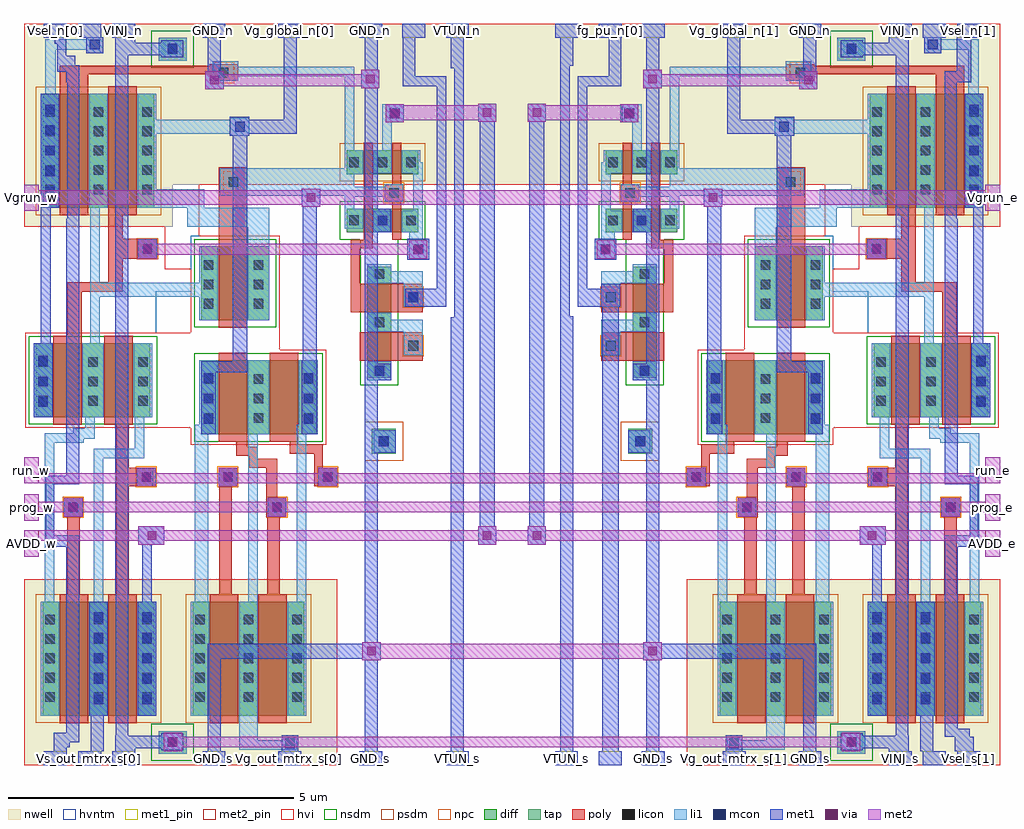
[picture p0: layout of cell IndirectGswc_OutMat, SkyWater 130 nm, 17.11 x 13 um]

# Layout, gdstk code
import gdstk
lib = gdstk.Library(unit=1e-6, precision=1e-09)
def R(c, l, rs):  # rectangles x0, y0, x1, y1
    for r in rs: c.add(gdstk.rectangle(r[:2], r[2:], *l))
def A(c, l, x, y, w, h, nx, ny, dx, dy):  # array of equal rectangles
    R(c, l, [(x+i*dx, y+j*dy, x+i*dx+w, y+j*dy+h) for i in range(nx) for j in range(ny)])
nwell = (64, 20)
diff = (65, 20)
tap = (65, 44)
poly = (66, 20)
licon = (66, 44)
li1 = (67, 20)
mcon = (67, 44)
met1_pin = (68, 16)
met1 = (68, 20)
via = (68, 44)
met2_pin = (69, 16)
met2 = (69, 20)
hvi = (75, 20)
nsdm = (93, 44)
psdm = (94, 20)
npc = (95, 20)
hvntm = (125, 20)

indirectgswc_outmat = lib.new_cell('IndirectGswc_OutMat')
R(indirectgswc_outmat, nwell, [(2.89,-0.44,8.38,2.82), (14.51,-0.44,20,2.82), (2.89,9,5.5,9.74), (17.39,9,20,9.74), (2.89,9.74,20,12.56)])
R(indirectgswc_outmat, diff, [(3.22,0.43,5.17,2.43), (5.85,0.43,7.8,2.43), (15.09,0.43,17.04,2.43), (17.72,0.43,19.67,2.43), (6,5.36,8,6.66), (14.89,5.36,16.89,6.66), (3.1,5.66,5.1,6.96), (17.79,5.66,19.79,6.96), (8.91,6.35,9.33,8.3), (13.56,6.35,13.98,8.3), (6,7.36,7.19,8.66), (15.7,7.36,16.89,8.66), (8.55,8.9,9.8,9.32), (13.09,8.9,14.34,9.32), (3.22,9.33,5.17,11.33), (17.72,9.33,19.67,11.33), (8.55,9.92,9.8,10.34), (13.09,9.92,14.34,10.34)])
R(indirectgswc_outmat, tap, [(5.25,-0.24,5.74,0.16), (17.15,-0.24,17.64,0.16), (8.99,5.02,9.41,5.46), (13.48,5.02,13.9,5.46), (5.25,11.91,5.74,12.31), (17.15,11.91,17.64,12.31)])
R(indirectgswc_outmat, poly, [(3.52,0.3,4.02,2.56), (4.37,0.3,4.87,2.56), (6.15,0.3,6.65,2.56), (7,0.3,7.5,2.56), (15.39,0.3,15.89,2.56), (16.24,0.3,16.74,2.56), (18.02,0.3,18.52,2.56), (18.87,0.3,19.37,2.56), (3.65,2.56,3.87,3.92), (4.51,2.56,4.73,4.45), (6.31,2.56,6.53,4.45), (7.15,2.56,7.37,3.91), (15.52,2.56,15.74,3.91), (16.36,2.56,16.58,4.45), (18.16,2.56,18.38,4.45), (19.02,2.56,19.24,3.92), (7.14,3.91,7.37,3.92), (15.52,3.91,15.75,3.92), (3.59,3.92,3.92,4.25), (7.14,3.92,7.49,4.25), (15.4,3.92,15.75,4.25), (18.97,3.92,19.3,4.25), (7.14,4.25,7.33,4.78), (15.56,4.25,15.75,4.78), (4.51,4.45,5.2,4.78), (6.3,4.45,6.63,4.78), (7.98,4.45,8.38,4.78), (14.51,4.45,14.91,4.78), (16.26,4.45,16.59,4.78), (17.69,4.45,18.38,4.78), (4.51,4.78,4.73,5.53), (6.84,4.78,7.33,4.93), (7.98,4.78,8.13,5.02), (14.76,4.78,14.91,5.02), (15.56,4.78,16.05,4.93), (18.16,4.78,18.38,5.53), (6.84,4.93,6.99,4.99), (15.9,4.93,16.05,4.99), (6.61,4.99,6.99,5.14), (15.9,4.99,16.28,5.14), (7.55,5.02,8.13,5.19), (14.76,5.02,15.34,5.19), (6.61,5.14,6.8,5.23), (16.09,5.14,16.28,5.23), (7.55,5.19,7.7,5.23), (15.19,5.19,15.34,5.23), (6.3,5.23,6.8,6.79), (7.2,5.23,7.7,6.79), (15.19,5.23,15.69,6.79), (16.09,5.23,16.59,6.79), (3.4,5.53,3.9,7.09), (4.3,5.53,4.8,7.09), (18.09,5.53,18.59,7.09), (18.99,5.53,19.49,7.09), (8.78,6.65,9.88,7.15), (13.01,6.65,14.11,7.15), (3.65,7.09,3.9,7.86), (18.99,7.09,19.24,7.86), (6.3,7.23,6.8,10.04), (16.09,7.23,16.59,10.04), (8.62,7.5,9.88,8), (13.01,7.5,14.27,8), (3.65,7.86,4.62,8.03), (18.27,7.86,19.24,8.03), (8.62,8,8.78,8.62), (14.11,8,14.27,8.62), (4.37,8.03,4.62,8.44), (18.27,8.03,18.52,8.44), (4.37,8.44,5.22,8.79), (17.67,8.44,18.52,8.79), (8.62,8.62,9,8.77), (13.89,8.62,14.27,8.77), (8.85,8.77,9,10.47), (9.35,8.77,9.5,9.45), (13.39,8.77,13.54,9.45), (13.89,8.77,14.04,10.47), (4.37,8.79,4.62,9.2), (18.27,8.79,18.52,9.2), (3.52,9.2,4.02,11.67), (4.37,9.2,4.87,11.46), (18.02,9.2,18.52,11.46), (18.87,9.2,19.37,11.67), (9.21,9.45,9.54,9.74), (13.35,9.45,13.68,9.74), (9.35,9.74,9.5,10.47), (13.39,9.74,13.54,10.47), (6.15,11.56,6.65,11.67), (16.24,11.56,16.74,11.67), (3.52,11.67,6.65,11.82), (16.24,11.67,19.37,11.82), (6.15,11.82,6.65,11.85), (16.24,11.82,16.74,11.85)])
A(indirectgswc_outmat, licon, 3.26, 0.67, 0.17, 0.17, 3, 5, 0.85, 0.34)
A(indirectgswc_outmat, licon, 5.89, 0.67, 0.17, 0.17, 3, 5, 0.85, 0.34)
A(indirectgswc_outmat, licon, 15.13, 0.67, 0.17, 0.17, 3, 5, 0.85, 0.34)
A(indirectgswc_outmat, licon, 17.76, 0.67, 0.17, 0.17, 3, 5, 0.85, 0.34)
A(indirectgswc_outmat, licon, 6.04, 5.565, 0.17, 0.17, 3, 3, 0.875, 0.34)
A(indirectgswc_outmat, licon, 14.93, 5.565, 0.17, 0.17, 3, 3, 0.875, 0.34)
A(indirectgswc_outmat, licon, 3.14, 5.865, 0.17, 0.17, 3, 3, 0.875, 0.34)
A(indirectgswc_outmat, licon, 17.83, 5.865, 0.17, 0.17, 3, 3, 0.875, 0.34)
A(indirectgswc_outmat, licon, 9.035, 6.39, 0.17, 0.17, 1, 3, 0, 0.85)
A(indirectgswc_outmat, licon, 13.685, 6.39, 0.17, 0.17, 1, 3, 0, 0.85)
A(indirectgswc_outmat, licon, 6.04, 7.565, 0.17, 0.17, 1, 3, 0, 0.34)
A(indirectgswc_outmat, licon, 6.915, 7.565, 0.17, 0.17, 1, 3, 0, 0.34)
A(indirectgswc_outmat, licon, 15.805, 7.565, 0.17, 0.17, 1, 3, 0, 0.34)
A(indirectgswc_outmat, licon, 16.68, 7.565, 0.17, 0.17, 1, 3, 0, 0.34)
A(indirectgswc_outmat, licon, 3.26, 9.57, 0.17, 0.17, 3, 5, 0.85, 0.34)
A(indirectgswc_outmat, licon, 17.76, 9.57, 0.17, 0.17, 3, 5, 0.85, 0.34)
A(indirectgswc_outmat, licon, 8.59, 10.045, 0.17, 0.17, 3, 1, 0.5, 0)
A(indirectgswc_outmat, licon, 13.13, 10.045, 0.17, 0.17, 3, 1, 0.5, 0)
R(indirectgswc_outmat, licon, [(5.41,-0.115,5.58,0.055), (17.31,-0.115,17.48,0.055), (3.67,4,3.84,4.17), (7.24,4,7.41,4.17), (15.48,4,15.65,4.17), (19.05,4,19.22,4.17), (4.95,4.53,5.12,4.7), (6.38,4.53,6.55,4.7), (8.13,4.53,8.3,4.7), (14.59,4.53,14.76,4.7), (16.34,4.53,16.51,4.7), (17.77,4.53,17.94,4.7), (9.11,5.155,9.28,5.325), (13.61,5.155,13.78,5.325), (9.63,6.83,9.8,7), (13.09,6.83,13.26,7), (9.63,7.68,9.8,7.85), (13.09,7.68,13.26,7.85), (4.97,8.53,5.14,8.7), (17.75,8.53,17.92,8.7), (9.09,9.025,9.26,9.195), (9.59,9.025,9.76,9.195), (13.13,9.025,13.3,9.195), (13.63,9.025,13.8,9.195), (8.59,9.03,8.76,9.2), (14.13,9.03,14.3,9.2), (9.29,9.51,9.46,9.68), (13.43,9.51,13.6,9.68), (6.48,9.7,6.65,9.87), (16.24,9.7,16.41,9.87), (6.305,11.615,6.475,11.785), (16.415,11.615,16.585,11.785), (5.41,12.035,5.58,12.205), (17.31,12.035,17.48,12.205)])
A(indirectgswc_outmat, li1, 3.18, 0.43, 0.33, 2, 3, 1, 0.85, 0)
A(indirectgswc_outmat, li1, 17.68, 0.43, 0.33, 2, 3, 1, 0.85, 0)
R(indirectgswc_outmat, li1, [(5.25,-0.24,5.74,0.16), (17.15,-0.24,17.64,0.16), (6.66,-0.17,7.67,0), (15.22,-0.17,16.23,0), (6.66,0,6.99,2.43), (7.44,0,7.67,0.06), (15.22,0,15.45,0.06), (15.9,0,16.23,2.43), (5.81,0.43,6.14,2.43), (7.51,0.43,7.84,2.43), (15.05,0.43,15.38,2.43), (16.75,0.43,17.08,2.43), (3.25,2.43,3.42,5.21), (4.11,2.43,4.28,4.94), (5.88,2.43,6.12,5.36), (6.82,2.43,6.99,5.36), (7.67,2.43,7.84,5.36), (15.05,2.43,15.22,5.36), (15.9,2.43,16.07,5.36), (16.77,2.43,17.01,5.36), (18.61,2.43,18.78,4.94), (19.47,2.43,19.64,5.21), (3.59,3.92,3.92,4.25), (7.16,3.92,7.49,4.25), (15.4,3.92,15.73,4.25), (18.97,3.92,19.3,4.25), (4.87,4.45,5.2,4.77), (6.3,4.45,6.63,4.78), (8.05,4.45,8.38,4.78), (14.51,4.45,14.84,4.78), (16.26,4.45,16.59,4.78), (17.69,4.45,18.02,4.77), (4.11,4.94,5,5.11), (17.89,4.94,18.78,5.11), (9.02,5.04,9.41,5.43), (13.48,5.04,13.87,5.43), (4.83,5.11,5,5.66), (17.89,5.11,18.06,5.66), (3.25,5.21,3.94,5.28), (18.95,5.21,19.64,5.28), (3.25,5.28,4.13,5.38), (18.76,5.28,19.64,5.38), (5.88,5.36,6.29,5.53), (6.81,5.36,7.19,6.66), (7.67,5.36,8.04,5.53), (14.85,5.36,15.22,5.53), (15.7,5.36,16.08,6.66), (16.6,5.36,17.01,5.53), (3.75,5.38,4.13,5.47), (18.76,5.38,19.14,5.47), (3.96,5.47,4.13,5.66), (18.76,5.47,18.93,5.66), (5.96,5.53,6.29,6.66), (7.71,5.53,8.04,6.66), (14.85,5.53,15.18,6.66), (16.6,5.53,16.93,6.66), (3.06,5.66,3.39,6.96), (3.91,5.66,4.29,6.96), (4.81,5.66,5.14,6.96), (17.75,5.66,18.08,6.96), (18.6,5.66,18.98,6.96), (19.5,5.66,19.83,6.96), (8.91,6.31,9.33,6.64), (13.56,6.31,13.98,6.64), (9.55,6.75,9.88,7.16), (13.01,6.75,13.34,7.16), (4.05,6.96,4.22,7.77), (18.67,6.96,18.84,7.77), (8.91,7.16,9.88,7.37), (13.01,7.16,13.98,7.37), (5.96,7.36,6.29,7.77), (6.81,7.36,7.19,9), (15.7,7.36,16.08,9), (16.6,7.36,16.93,7.77), (8.91,7.37,9.33,7.49), (13.56,7.37,13.98,7.49), (9.55,7.6,9.88,8.01), (13.01,7.6,13.34,8.01), (4.05,7.77,6.29,8.02), (16.6,7.77,18.84,8.02), (8.91,8.01,9.88,8.22), (13.01,8.01,13.98,8.22), (4.05,8.02,4.22,9.33), (5.96,8.02,6.29,8.66), (16.6,8.02,16.93,8.66), (18.67,8.02,18.84,9.33), (8.91,8.22,9.33,8.34), (13.56,8.22,13.98,8.34), (9.64,8.44,9.96,8.76), (12.93,8.44,13.25,8.76), (4.89,8.45,5.22,8.78), (17.67,8.45,18,8.78), (9.64,8.76,9.88,8.9), (13.01,8.76,13.25,8.9), (9.01,8.9,9.34,9.28), (9.51,8.9,9.88,9.28), (13.01,8.9,13.38,9.28), (13.55,8.9,13.88,9.28), (8.51,8.97,8.84,9.32), (14.05,8.97,14.38,9.32), (5.75,9,7.19,9.33), (15.7,9,17.14,9.33), (9.71,9.28,9.88,9.94), (13.01,9.28,13.18,9.94), (8.51,9.32,8.68,9.53), (14.21,9.32,14.38,9.53), (3.18,9.33,3.51,11.33), (4.03,9.33,4.36,11.33), (4.88,9.33,6.05,9.66), (16.84,9.33,18.01,9.66), (18.53,9.33,18.86,11.33), (19.38,9.33,19.71,11.33), (9.21,9.45,9.54,9.53), (13.35,9.45,13.68,9.53), (8.51,9.53,9.54,9.54), (13.35,9.53,14.38,9.54), (6.32,9.54,9.54,9.7), (13.35,9.54,16.57,9.7), (4.88,9.66,5.21,10.63), (17.68,9.66,18.01,10.63), (6.32,9.7,8.68,9.92), (9.21,9.7,9.54,9.75), (13.35,9.7,13.68,9.75), (14.21,9.7,16.57,9.92), (6.32,9.92,8.84,10.03), (14.05,9.92,16.57,10.03), (9.01,9.94,9.34,10.34), (9.51,9.94,9.88,10.13), (13.01,9.94,13.38,10.13), (13.55,9.94,13.88,10.34), (8.51,10.03,8.84,10.34), (14.05,10.03,14.38,10.34), (9.51,10.13,9.84,10.34), (13.05,10.13,13.38,10.34), (8.51,10.34,8.68,11.64), (9.17,10.34,9.34,10.83), (13.55,10.34,13.72,10.83), (14.21,10.34,14.38,11.64), (6.5,10.6,6.84,10.63), (16.05,10.6,16.39,10.63), (4.88,10.63,6.84,10.88), (16.05,10.63,18.01,10.88), (9.17,10.83,9.55,11.15), (13.34,10.83,13.72,11.15), (4.88,10.88,5.21,11.33), (6.5,10.88,6.84,10.91), (16.05,10.88,16.39,10.91), (17.68,10.88,18.01,11.33), (3.26,11.33,3.45,12.1), (19.44,11.33,19.63,12.1), (6.2,11.56,6.65,11.64), (16.24,11.56,16.69,11.64), (6.2,11.64,8.68,11.81), (14.21,11.64,16.69,11.81), (6.2,11.81,6.65,11.9), (16.24,11.81,16.69,11.9), (5.25,11.91,5.74,12.31), (17.15,11.91,17.64,12.31), (3.98,12.04,4.28,12.1), (18.67,12.04,18.97,12.1), (3.26,12.1,4.28,12.29), (18.67,12.1,19.63,12.29), (3.98,12.29,4.28,12.32), (18.67,12.29,18.97,12.32)])
A(indirectgswc_outmat, mcon, 4.11, 0.63, 0.17, 0.17, 1, 5, 0, 0.36)
A(indirectgswc_outmat, mcon, 4.96, 0.63, 0.17, 0.17, 1, 5, 0, 0.36)
A(indirectgswc_outmat, mcon, 17.76, 0.63, 0.17, 0.17, 1, 5, 0, 0.36)
A(indirectgswc_outmat, mcon, 18.61, 0.63, 0.17, 0.17, 1, 5, 0, 0.36)
A(indirectgswc_outmat, mcon, 6.04, 5.545, 0.17, 0.17, 1, 3, 0, 0.36)
A(indirectgswc_outmat, mcon, 7.79, 5.545, 0.17, 0.17, 1, 3, 0, 0.36)
A(indirectgswc_outmat, mcon, 14.93, 5.545, 0.17, 0.17, 1, 3, 0, 0.36)
A(indirectgswc_outmat, mcon, 16.68, 5.545, 0.17, 0.17, 1, 3, 0, 0.36)
A(indirectgswc_outmat, mcon, 3.14, 5.845, 0.17, 0.17, 1, 3, 0, 0.36)
A(indirectgswc_outmat, mcon, 19.58, 5.845, 0.17, 0.17, 1, 3, 0, 0.36)
A(indirectgswc_outmat, mcon, 3.26, 9.53, 0.17, 0.17, 1, 5, 0, 0.36)
A(indirectgswc_outmat, mcon, 19.46, 9.53, 0.17, 0.17, 1, 5, 0, 0.36)
R(indirectgswc_outmat, mcon, [(7.47,-0.14,7.64,0.03), (15.25,-0.14,15.42,0.03), (5.41,-0.115,5.58,0.055), (17.31,-0.115,17.48,0.055), (3.67,4,3.84,4.17), (7.24,4,7.41,4.17), (15.48,4,15.65,4.17), (19.05,4,19.22,4.17), (4.95,4.53,5.12,4.7), (6.38,4.53,6.55,4.7), (8.13,4.53,8.3,4.7), (14.59,4.53,14.76,4.7), (16.34,4.53,16.51,4.7), (17.77,4.53,17.94,4.7), (9.11,5.155,9.28,5.325), (13.61,5.155,13.78,5.325), (9.035,6.39,9.205,6.56), (13.685,6.39,13.855,6.56), (9.63,7.68,9.8,7.85), (9.715,8.52,9.885,8.69), (13,8.52,13.17,8.69), (4.97,8.53,5.14,8.7), (17.75,8.53,17.92,8.7), (9.09,9.025,9.26,9.195), (13.63,9.025,13.8,9.195), (6.59,10.67,6.76,10.84), (16.13,10.67,16.3,10.84), (9.305,10.905,9.475,11.075), (13.415,10.905,13.585,11.075), (5.41,12.035,5.58,12.205), (17.31,12.035,17.48,12.205), (4.045,12.11,4.215,12.28), (18.735,12.11,18.905,12.28)])
A(indirectgswc_outmat, met1_pin, 3.24, -0.44, 0.4, 0.25, 3, 2, 0.6, 12.75)
A(indirectgswc_outmat, met1_pin, 18.05, -0.44, 0.4, 0.25, 3, 2, 0.6, 12.75)
R(indirectgswc_outmat, met1_pin, [(6.02,-0.44,6.42,-0.19), (7.35,-0.44,7.75,-0.19), (8.77,-0.44,9.17,-0.19), (10.29,-0.44,10.69,-0.19), (12.2,-0.44,12.6,-0.19), (12.97,-0.44,13.37,-0.19), (13.72,-0.44,14.12,-0.19), (15.14,-0.44,15.54,-0.19), (16.47,-0.44,16.87,-0.19), (2.89,9.28,3.15,9.74), (19.74,9.28,20,9.74), (6.02,12.31,6.42,12.56), (7.35,12.31,7.75,12.56), (8.77,12.31,9.17,12.56), (9.52,12.31,9.92,12.56), (10.29,12.31,10.69,12.56), (12.2,12.31,12.6,12.56), (12.97,12.31,13.37,12.56), (13.72,12.31,14.12,12.56), (15.14,12.31,15.54,12.56), (16.47,12.31,16.87,12.56)])
A(indirectgswc_outmat, met1, 3.24, -0.44, 0.4, 0.25, 3, 1, 0.6, 0)
A(indirectgswc_outmat, met1, 18.05, -0.44, 0.4, 0.25, 3, 1, 0.6, 0)
R(indirectgswc_outmat, met1, [(6.02,-0.44,6.42,-0.19), (7.35,-0.44,7.75,-0.19), (8.77,-0.44,9.17,-0.19), (10.29,-0.44,10.69,-0.19), (12.2,-0.44,12.6,-0.19), (12.97,-0.44,13.37,-0.19), (13.72,-0.44,14.12,-0.19), (15.14,-0.44,15.54,-0.19), (16.47,-0.44,16.87,-0.19), (3.41,-0.19,3.64,-0.12), (4.06,-0.19,4.29,0.43), (4.49,-0.19,4.84,-0.14), (6.11,-0.19,6.34,1.43), (7.41,-0.19,7.7,0.09), (8.86,-0.19,9.09,1.4), (10.37,-0.19,10.6,7.41), (12.29,-0.19,12.52,7.43), (13.03,-0.19,13.32,7.6), (13.8,-0.19,14.03,1.4), (15.19,-0.19,15.48,0.09), (16.55,-0.19,16.78,1.43), (18.05,-0.19,18.4,-0.14), (18.6,-0.19,18.83,0.43), (19.21,-0.19,19.54,0.06), (5.3,-0.18,5.68,-0.14), (17.21,-0.18,17.59,-0.14), (4.49,-0.14,5.68,0.08), (17.21,-0.14,18.4,0.08), (3.41,-0.12,3.69,-0.04), (3.41,-0.04,3.86,0.13), (19.03,0.06,19.47,0.2), (4.49,0.08,4.72,0.09), (5.3,0.08,5.68,0.12), (17.21,0.08,17.59,0.12), (18.17,0.08,18.4,0.09), (4.5,0.09,4.72,2.58), (18.17,0.09,18.39,2.58), (3.63,0.13,3.86,3.39), (19.03,0.2,19.26,3.39), (4.03,0.43,4.36,2.43), (4.88,0.43,5.21,2.43), (17.68,0.43,18.01,2.43), (18.53,0.43,18.86,2.43), (8.82,1.4,9.14,1.43), (13.75,1.4,14.07,1.43), (6.11,1.43,9.14,1.69), (13.75,1.43,16.78,1.69), (8.82,1.69,9.14,1.72), (13.75,1.69,14.07,1.72), (8.86,1.72,9.09,5.04), (13.8,1.72,14.03,5.04), (4.96,2.43,5.13,3.43), (17.76,2.43,17.93,3.43), (4.49,2.58,4.72,12.01), (18.17,2.58,18.4,12.01), (3.27,3.39,3.86,3.59), (19.03,3.39,19.62,3.59), (4.89,3.43,5.35,3.75), (10.85,3.43,11.17,3.75), (11.72,3.43,12.04,3.75), (17.54,3.43,18,3.75), (3.27,3.59,3.42,4.49), (19.47,3.59,19.62,4.49), (10.88,3.75,11.14,10.84), (11.75,3.75,12.01,10.84), (3.59,3.92,3.92,4.25), (7.16,3.92,7.49,4.25), (15.4,3.92,15.73,4.25), (18.97,3.92,19.3,4.25), (4.87,4.45,5.16,4.78), (6.3,4.45,6.63,4.78), (8.05,4.45,8.38,4.78), (14.51,4.45,14.84,4.78), (16.26,4.45,16.59,4.78), (17.73,4.45,18.02,4.78), (3.27,4.49,3.86,4.64), (19.03,4.49,19.62,4.64), (3.63,4.64,3.86,9.14), (19.03,4.64,19.26,9.14), (8.86,5.04,9.41,5.43), (13.48,5.04,14.03,5.43), (6,5.36,6.25,6.45), (7.76,5.36,8.02,6.66), (14.87,5.36,15.13,6.66), (16.64,5.36,16.89,6.45), (8.86,5.43,9.09,6.31), (13.8,5.43,14.03,6.31), (3.06,5.66,3.39,6.96), (19.5,5.66,19.83,6.96), (8.86,6.31,9.33,6.6), (13.56,6.31,14.03,6.6), (6,6.45,6.8,6.64), (16.09,6.45,16.89,6.64), (8.86,6.6,9.09,8.9), (13.8,6.6,14.03,8.9), (6.55,6.64,6.8,10.6), (16.09,6.64,16.34,10.6), (7.78,6.66,8.02,9.35), (14.87,6.66,15.11,9.35), (3.18,6.96,3.36,9.33), (19.53,6.96,19.71,9.33), (10.43,7.41,10.6,11.78), (12.29,7.43,12.46,11.82), (9.57,7.6,10.29,7.91), (12.6,7.6,13.34,7.91), (10.13,7.91,10.29,11.46), (12.6,7.91,12.76,11.46), (13.01,7.91,13.34,8), (9.61,8.42,9.99,8.79), (12.9,8.42,13.27,8.79), (4.88,8.44,5.23,8.79), (17.66,8.44,18.01,8.79), (8.86,8.9,9.32,9.32), (13.57,8.9,14.03,9.32), (3.65,9.14,3.86,11.53), (19.03,9.14,19.24,11.53), (8.86,9.32,9.09,11.43), (13.8,9.32,14.03,11.43), (3.18,9.33,3.51,11.33), (19.38,9.33,19.71,11.33), (7.76,9.35,8.08,9.67), (14.81,9.35,15.13,9.67), (6.5,10.6,6.84,10.63), (16.05,10.6,16.39,10.63), (6.5,10.63,7.67,10.88), (15.22,10.63,16.39,10.88), (9.23,10.83,9.55,11.15), (13.37,10.83,13.66,11.15), (10.85,10.84,11.17,11.16), (11.72,10.84,12.04,11.16), (6.5,10.88,6.84,10.93), (7.44,10.88,7.67,12.31), (15.22,10.88,15.45,12.31), (16.05,10.88,16.39,10.93), (6.07,11.41,6.39,11.73), (16.48,11.41,16.8,11.73), (8.8,11.43,9.12,11.75), (13.75,11.43,14.07,11.75), (9.53,11.46,10.29,11.64), (12.6,11.46,13.36,11.64), (3.63,11.53,3.86,11.72), (19.03,11.53,19.5,11.73), (9.53,11.64,9.75,12.31), (13.14,11.64,13.36,12.31), (3.47,11.72,3.86,11.83), (6.11,11.73,6.34,12.31), (16.55,11.73,16.78,12.31), (19.24,11.73,19.5,12.31), (8.86,11.75,9.09,12.31), (13.8,11.75,14.03,12.31), (10.37,11.78,10.6,12.31), (12.29,11.82,12.52,12.31), (3.47,11.83,3.79,12), (5.3,11.97,5.68,12.01), (17.21,11.97,17.59,12.01), (3.47,12,3.63,12.21), (4.49,12.01,5.68,12.23), (17.21,12.01,18.4,12.23), (3.98,12.04,4.28,12.31), (18.67,12.04,18.97,12.31), (3.43,12.21,3.63,12.31), (4.49,12.23,4.84,12.31), (5.3,12.23,5.68,12.27), (17.21,12.23,17.59,12.27), (18.05,12.23,18.4,12.31), (3.24,12.31,3.64,12.56), (3.84,12.31,4.28,12.32), (4.44,12.31,4.84,12.56), (6.02,12.31,6.42,12.56), (7.35,12.31,7.75,12.56), (8.77,12.31,9.17,12.56), (9.52,12.31,9.92,12.56), (10.29,12.31,10.69,12.56), (12.2,12.31,12.6,12.56), (12.97,12.31,13.37,12.56), (13.72,12.31,14.12,12.56), (15.14,12.31,15.54,12.56), (16.47,12.31,16.87,12.56), (18.05,12.31,18.45,12.56), (18.65,12.31,19.05,12.56), (19.24,12.31,19.65,12.34), (3.84,12.32,4.24,12.56), (19.25,12.34,19.65,12.56)])
R(indirectgswc_outmat, via, [(5.425,-0.105,5.575,0.045), (17.315,-0.105,17.465,0.045), (8.905,1.485,9.055,1.635), (13.835,1.485,13.985,1.635), (5.06,3.515,5.21,3.665), (10.935,3.515,11.085,3.665), (11.805,3.515,11.955,3.665), (17.68,3.515,17.83,3.665), (3.675,4.005,3.825,4.155), (7.245,4.005,7.395,4.155), (15.495,4.005,15.645,4.155), (19.065,4.005,19.215,4.155), (4.955,4.535,5.105,4.685), (6.385,4.535,6.535,4.685), (8.135,4.535,8.285,4.685), (14.605,4.535,14.755,4.685), (16.355,4.535,16.505,4.685), (17.785,4.535,17.935,4.685), (9.725,8.525,9.875,8.675), (13.015,8.525,13.165,8.675), (4.98,8.54,5.13,8.69), (17.76,8.54,17.91,8.69), (7.845,9.435,7.995,9.585), (14.895,9.435,15.045,9.585), (9.315,10.915,9.465,11.065), (13.425,10.915,13.575,11.065), (10.935,10.925,11.085,11.075), (11.805,10.925,11.955,11.075), (6.155,11.495,6.305,11.645), (16.565,11.495,16.715,11.645), (8.885,11.515,9.035,11.665), (13.835,11.515,13.985,11.665)])
R(indirectgswc_outmat, met2_pin, [(2.89,3.22,3.15,3.68), (19.74,3.22,20,3.68), (2.89,3.85,3.15,4.31), (19.74,3.85,20,4.31), (2.89,4.5,3.15,4.96), (19.74,4.5,20,4.96)])
A(indirectgswc_outmat, met2, 2.89, 3.5, 17.11, 0.18, 1, 3, 0, 0.5)
R(indirectgswc_outmat, met2, [(5.34,-0.19,5.66,-0.12), (17.23,-0.19,17.55,-0.12), (5.34,-0.12,17.55,0.06), (5.34,0.06,5.66,0.13), (17.23,0.06,17.55,0.13), (8.82,1.4,9.14,1.43), (13.75,1.4,14.07,1.43), (8.82,1.43,14.07,1.69), (8.82,1.69,9.14,1.72), (13.75,1.69,14.07,1.72), (2.89,3.22,3.15,3.5), (19.74,3.22,20,3.5), (4.89,3.43,5.35,3.5), (10.85,3.43,11.17,3.5), (11.72,3.43,12.04,3.5), (17.54,3.43,18,3.5), (4.89,3.68,5.35,3.75), (10.85,3.68,11.17,3.75), (11.72,3.68,12.04,3.75), (17.54,3.68,18,3.75), (2.89,3.85,3.15,4), (19.74,3.85,20,4), (3.59,3.92,3.92,4), (7.16,3.92,7.49,4), (15.4,3.92,15.73,4), (18.97,3.92,19.3,4), (2.89,4.18,3.15,4.31), (3.59,4.18,3.92,4.25), (7.16,4.18,7.49,4.25), (15.4,4.18,15.73,4.25), (18.97,4.18,19.3,4.25), (19.74,4.18,20,4.31), (4.87,4.45,5.2,4.5), (6.3,4.45,6.63,4.5), (8.05,4.45,8.38,4.5), (14.51,4.45,14.84,4.5), (16.26,4.45,16.59,4.5), (17.69,4.45,18.02,4.5), (2.89,4.68,3.15,4.96), (4.87,4.68,5.2,4.78), (6.3,4.68,6.63,4.78), (8.05,4.68,8.38,4.78), (14.51,4.68,14.84,4.78), (16.26,4.68,16.59,4.78), (17.69,4.68,18.02,4.78), (19.74,4.68,20,4.96), (4.88,8.44,5.23,8.51), (9.64,8.44,9.96,8.51), (12.93,8.44,13.25,8.51), (17.66,8.44,18.01,8.51), (4.88,8.51,9.96,8.7), (12.93,8.51,18.01,8.7), (4.88,8.7,5.23,8.79), (9.64,8.7,9.96,8.76), (12.93,8.7,13.25,8.76), (17.66,8.7,18.01,8.79), (2.89,9.28,3.15,9.39), (19.74,9.28,20,9.39), (7.76,9.35,8.08,9.39), (14.81,9.35,15.13,9.39), (2.89,9.39,20,9.64), (2.89,9.64,3.15,9.74), (7.76,9.64,8.08,9.67), (14.81,9.64,15.13,9.67), (19.74,9.64,20,9.74), (9.23,10.83,9.55,10.87), (13.34,10.83,13.66,10.87), (10.85,10.84,11.17,10.87), (11.72,10.84,12.04,10.87), (9.23,10.87,11.17,11.13), (11.72,10.87,13.66,11.13), (9.23,11.13,9.55,11.15), (10.85,11.13,11.17,11.16), (11.72,11.13,12.04,11.16), (13.34,11.13,13.66,11.15), (6.07,11.41,6.39,11.46), (16.48,11.41,16.8,11.46), (8.8,11.43,9.12,11.46), (13.75,11.43,14.07,11.46), (6.07,11.46,9.12,11.67), (13.75,11.46,16.8,11.67), (6.07,11.67,6.39,11.73), (8.8,11.67,9.12,11.75), (13.75,11.67,14.07,11.75), (16.48,11.67,16.8,11.73)])
R(indirectgswc_outmat, hvi, [(2.89,-0.44,8.38,2.82), (14.51,-0.44,20,2.82), (5.815,5.175,8.185,5.475), (14.705,5.175,17.075,5.475), (2.915,5.475,8.185,6.845), (14.705,5.475,19.975,6.845), (2.915,6.845,7.375,7.145), (15.515,6.845,19.975,7.145), (5.815,7.145,7.375,8.26), (15.515,7.145,17.075,8.26), (5.355,8.26,7.375,8.845), (15.515,8.26,17.535,8.845), (5.355,8.845,5.96,9), (16.93,8.845,17.535,9), (2.89,9,5.96,9.74), (16.93,9,20,9.74), (2.89,9.74,20,12.56)])
R(indirectgswc_outmat, nsdm, [(5.125,-0.365,5.865,0.285), (17.025,-0.365,17.765,0.285), (5.875,5.235,8.125,6.785), (14.765,5.235,17.015,6.785), (2.975,5.535,5.225,7.085), (17.665,5.535,19.915,7.085), (8.785,6.225,9.455,8.775), (13.435,6.225,14.105,8.775), (5.875,7.235,7.315,8.785), (15.575,7.235,17.015,8.785), (8.425,8.775,9.925,9.445), (12.965,8.775,14.465,9.445), (5.125,11.785,5.865,12.435), (17.025,11.785,17.765,12.435)])
R(indirectgswc_outmat, psdm, [(3.095,0.305,5.295,2.555), (5.725,0.305,7.925,2.555), (14.965,0.305,17.165,2.555), (17.595,0.305,19.795,2.555), (8.865,4.895,9.535,5.585), (13.355,4.895,14.025,5.585), (3.095,9.205,5.295,11.455), (17.595,9.205,19.795,11.455), (8.425,9.795,9.925,10.465), (12.965,9.795,14.465,10.465)])
R(indirectgswc_outmat, npc, [(3.57,3.9,3.94,4.27), (7.14,3.9,7.51,4.27), (15.38,3.9,15.75,4.27), (18.95,3.9,19.32,4.27), (4.85,4.43,5.22,4.8), (6.28,4.43,6.65,4.8), (8.03,4.43,8.4,4.8), (14.49,4.43,14.86,4.8), (16.24,4.43,16.61,4.8), (17.67,4.43,18.04,4.8), (9.53,6.73,9.9,7.1), (12.99,6.73,13.36,7.1), (9.53,7.58,9.9,7.95), (12.99,7.58,13.36,7.95), (4.87,8.43,5.24,8.8), (17.65,8.43,18.02,8.8), (9.19,9.41,9.56,9.78), (13.33,9.41,13.7,9.78), (6.38,9.6,6.75,9.97), (16.14,9.6,16.51,9.97), (6.205,11.515,6.575,11.885), (16.315,11.515,16.685,11.885)])
R(indirectgswc_outmat, hvntm, [(5.815,5.175,8.185,5.475), (14.705,5.175,17.075,5.475), (2.915,5.475,8.185,6.845), (14.705,5.475,19.975,6.845), (2.915,6.845,7.375,7.145), (15.515,6.845,19.975,7.145), (5.2,7.145,7.375,7.87), (15.515,7.145,17.69,7.87), (5.815,7.87,7.375,8.845), (15.515,7.87,17.075,8.845)])
indirectgswc_outmat.add(gdstk.Label('Vs_out_mtrx_s[0]', (4.04,-0.315), layer=68, texttype=5))
indirectgswc_outmat.add(gdstk.Label('Vsel_n[0]', (3.44,12.435), layer=68, texttype=5))
indirectgswc_outmat.add(gdstk.Label('Vsel_s[0]', (3.44,-0.315), layer=68, texttype=5))
indirectgswc_outmat.add(gdstk.Label('VINJ_n', (4.64,12.435), layer=68, texttype=5))
indirectgswc_outmat.add(gdstk.Label('VINJ_s', (4.64,-0.315), layer=68, texttype=5))
indirectgswc_outmat.add(gdstk.Label('GND_n', (6.22,12.435), layer=68, texttype=5))
indirectgswc_outmat.add(gdstk.Label('GND_s', (6.22,-0.315), layer=68, texttype=5))
indirectgswc_outmat.add(gdstk.Label('Vg_out_mtrx_s[0]', (7.55,-0.315), layer=68, texttype=5))
indirectgswc_outmat.add(gdstk.Label('GND_n', (8.97,12.435), layer=68, texttype=5))
indirectgswc_outmat.add(gdstk.Label('GND_s', (8.97,-0.315), layer=68, texttype=5))
indirectgswc_outmat.add(gdstk.Label('fg_pu_n[0]', (13.17,12.435), layer=68, texttype=5))
indirectgswc_outmat.add(gdstk.Label('fg_pu_n[0]', (9.72,12.435), layer=68, texttype=5))
indirectgswc_outmat.add(gdstk.Label('VTUN_n', (10.49,12.435), layer=68, texttype=5))
indirectgswc_outmat.add(gdstk.Label('VTUN_s', (10.49,-0.315), layer=68, texttype=5))
indirectgswc_outmat.add(gdstk.Label('VTUN_n', (12.4,12.435), layer=68, texttype=5))
indirectgswc_outmat.add(gdstk.Label('VTUN_s', (12.4,-0.315), layer=68, texttype=5))
indirectgswc_outmat.add(gdstk.Label('fg_pu_s[1]', (13.17,-0.315), layer=68, texttype=5))
indirectgswc_outmat.add(gdstk.Label('GND_n', (13.92,12.435), layer=68, texttype=5))
indirectgswc_outmat.add(gdstk.Label('GND_s', (13.92,-0.315), layer=68, texttype=5))
indirectgswc_outmat.add(gdstk.Label('Vg_out_mtrx_s[1]', (15.34,-0.315), layer=68, texttype=5))
indirectgswc_outmat.add(gdstk.Label('GND_n', (16.67,12.435), layer=68, texttype=5))
indirectgswc_outmat.add(gdstk.Label('GND_s', (16.67,-0.315), layer=68, texttype=5))
indirectgswc_outmat.add(gdstk.Label('VINJ_n', (18.25,12.435), layer=68, texttype=5))
indirectgswc_outmat.add(gdstk.Label('VINJ_s', (18.25,-0.315), layer=68, texttype=5))
indirectgswc_outmat.add(gdstk.Label('Vsel_n[1]', (19.45,12.435), layer=68, texttype=5))
indirectgswc_outmat.add(gdstk.Label('Vsel_s[1]', (19.45,-0.315), layer=68, texttype=5))
indirectgswc_outmat.add(gdstk.Label('Vs_out_mtrx_s[1]', (18.85,-0.315), layer=68, texttype=5))
indirectgswc_outmat.add(gdstk.Label('Vs_global_n[0]', (4.04,12.435), layer=68, texttype=5))
indirectgswc_outmat.add(gdstk.Label('Vg_global_n[0]', (7.55,12.435), layer=68, texttype=5))
indirectgswc_outmat.add(gdstk.Label('Vg_global_n[1]', (15.34,12.435), layer=68, texttype=5))
indirectgswc_outmat.add(gdstk.Label('Vs_global_n[1]', (18.85,12.435), layer=68, texttype=5))
indirectgswc_outmat.add(gdstk.Label('Vgrun_w', (3.02,9.51), layer=68, texttype=5))
indirectgswc_outmat.add(gdstk.Label('Vgrun_e', (19.87,9.51), layer=68, texttype=5))
indirectgswc_outmat.add(gdstk.Label('prog_w', (3.02,4.08), layer=69, texttype=5))
indirectgswc_outmat.add(gdstk.Label('prog_e', (19.87,4.08), layer=69, texttype=5))
indirectgswc_outmat.add(gdstk.Label('run_w', (3.02,4.73), layer=69, texttype=5))
indirectgswc_outmat.add(gdstk.Label('run_e', (19.87,4.73), layer=69, texttype=5))
indirectgswc_outmat.add(gdstk.Label('AVDD_w', (3.02,3.45), layer=69, texttype=5))
indirectgswc_outmat.add(gdstk.Label('AVDD_e', (19.87,3.45), layer=69, texttype=5))

lib.write_gds('IndirectGswc_OutMat.gds')
